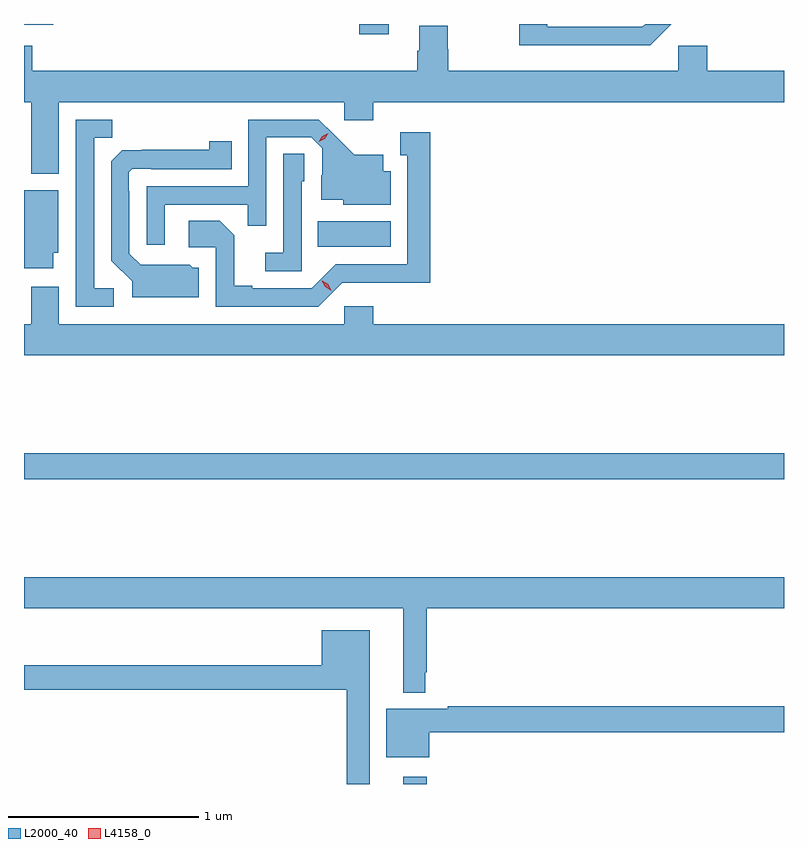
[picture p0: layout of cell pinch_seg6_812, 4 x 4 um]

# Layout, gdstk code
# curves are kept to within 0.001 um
import gdstk
lib = gdstk.Library(unit=1e-6, precision=1e-09)
def R(c, l, rs):  # rectangles x0, y0, x1, y1
    for r in rs: c.add(gdstk.rectangle(r[:2], r[2:], *l))
def P(c, l, *ps):  # polygons
    for p in ps: c.add(gdstk.Polygon(p, *l))
L2000_40 = (2000, 40)
L4158_0 = (4158, 0)

pinch_seg6_812 = lib.new_cell('pinch_seg6_812')
R(pinch_seg6_812, L2000_40, [(157.355,969.055,157.477,969.094), (155.358,970.66,159.358,970.796), (156.904,971.882,157.288,972.016), (157.123,973.002,157.279,973.055), (155.358,973.05,155.513,973.055)])
P(pinch_seg6_812, L2000_40, [(158.765,973.055),(158.627,973.055),(158.613,973.041),(158.113,973.041),(158.113,973.055),(158.016,973.055),(158.016,973.054),(157.965,973.054),(157.965,972.944),(158.654,972.944)],
  [(155.542,972.644),(157.044,972.644),(157.044,972.549),(157.196,972.549),(157.196,972.644),(159.358,972.644),(159.358,972.808),(158.954,972.808),(158.954,972.94),(158.802,972.94),(158.802,972.808),(157.592,972.808),(157.592,972.921),(157.587,972.921),(157.587,973.046),(157.439,973.046),(157.439,972.914),(157.427,972.914),(157.427,972.808),(155.402,972.808),(155.402,972.94),(155.358,972.94),(155.358,972.644),(155.395,972.644),(155.395,972.266),(155.542,972.266)],
  [(155.83,971.664),(155.727,971.664),(155.727,972.457),(155.823,972.457),(155.823,972.552),(155.631,972.552),(155.631,971.568),(155.83,971.568)],
  [(156.099,972.105),(156.535,972.105),(156.535,971.992),(156.633,971.992),(156.633,972.459),(156.87,972.459),(156.927,972.402),(156.927,972.26),(156.923,972.26),(156.923,972.131),(157.038,972.131),(157.038,972.104),(157.288,972.104),(157.288,972.28),(157.249,972.28),(157.249,972.367),(157.097,972.367),(156.91,972.552),(156.537,972.552),(156.537,972.201),(156.003,972.201),(156.003,971.892),(156.099,971.892)],
  [(157.032,971.694),(157.495,971.693),(157.495,972.484),(157.337,972.484),(157.337,972.363),(157.376,972.363),(157.376,971.79),(156.999,971.79),(156.873,971.664),(156.559,971.664),(156.559,971.677),(156.465,971.677),(156.465,971.944),(156.389,972.02),(156.225,972.02),(156.225,971.88),(156.366,971.88),(156.366,971.568),(156.906,971.568)],
  [(156.277,971.772),(156.246,971.772),(156.23,971.788),(155.973,971.787),(155.913,971.847),(155.913,972.176),(155.91,972.176),(155.91,972.276),(155.928,972.294),(156.028,972.294),(156.028,972.291),(156.452,972.291),(156.452,972.439),(156.334,972.439),(156.334,972.392),(155.876,972.391),(155.817,972.332),(155.817,971.81),(155.927,971.7),(155.927,971.618),(156.277,971.618)],
  [(156.819,972.228),(156.834,972.228),(156.834,972.371),(156.723,972.371),(156.723,971.851),(156.627,971.851),(156.627,971.754),(156.819,971.754)],
  [(155.512,971.85),(155.539,971.85),(155.539,972.181),(155.358,972.181),(155.358,971.769),(155.512,971.769)],
  [(159.358,971.476),(157.196,971.476),(157.196,971.569),(157.044,971.569),(157.044,971.476),(155.542,971.476),(155.542,971.671),(155.395,971.671),(155.395,971.476),(155.358,971.476),(155.358,971.312),(159.358,971.312)],
  [(157.47,969.643),(157.477,969.643),(157.477,969.98),(159.358,969.98),(159.358,970.144),(155.358,970.144),(155.358,969.98),(157.355,969.98),(157.355,969.536),(157.47,969.536)],
  [(157.177,969.865),(156.926,969.865),(156.926,969.679),(155.358,969.679),(155.358,969.55),(157.056,969.55),(157.056,969.055),(157.177,969.055)],
  [(157.492,969.328),(159.358,969.328),(159.358,969.464),(157.588,969.464),(157.588,969.451),(157.265,969.451),(157.265,969.197),(157.492,969.197)])
P(pinch_seg6_812, L4158_0, [(156.975,971.652),(156.944,971.671),(156.926,971.704),(156.926,971.704),(156.927,971.704),(156.958,971.685),(156.975,971.652),(156.975,971.652)],
  [(156.91,972.435),(156.91,972.435),(156.928,972.464),(156.959,972.479),(156.96,972.479),(156.96,972.479),(156.942,972.45),(156.91,972.435)])

lib.write_gds('pinch_seg6_812.gds')
